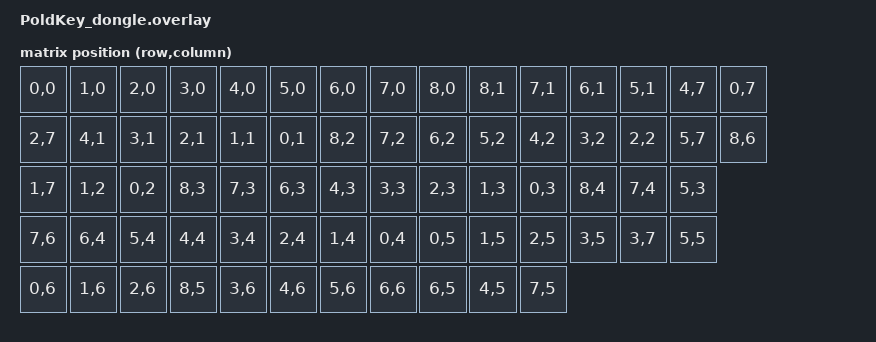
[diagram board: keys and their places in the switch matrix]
#include <dt-bindings/zmk/matrix_transform.h>
#include <dt-bindings/led/led.h>
#include <zephyr/dt-bindings/gpio/gpio.h>

&pinctrl {
    spi3_default: spi3_default {
        group1 {
            psels = <NRF_PSEL(SPIM_MOSI, 0, 31)>;
        };
    };

    spi3_sleep: spi3_sleep {
        group1 {
            psels = <NRF_PSEL(SPIM_MOSI, 0, 31)>;
            low-power-enable;
        };
    };

    /* I2C remap for OLED: SDA=P0.02 (D2), SCL=P0.20 (D3) */
    i2c0_dongle_default: i2c0_dongle_default {
        group1 {
            psels = <NRF_PSEL(TWIM_SDA, 0, 2)>, <NRF_PSEL(TWIM_SCL, 0, 20)>;
        };
    };

    i2c0_dongle_sleep: i2c0_dongle_sleep {
        group1 {
            psels = <NRF_PSEL(TWIM_SDA, 0, 2)>, <NRF_PSEL(TWIM_SCL, 0, 20)>;
            low-power-enable;
        };
    };
};

&spi3 {
    compatible = "nordic,nrf-spim";
    status = "okay";

    pinctrl-0 = <&spi3_default>;
    pinctrl-1 = <&spi3_sleep>;
    pinctrl-names = "default", "sleep";

    led_strip: ws2812@0 {
        compatible = "worldsemi,ws2812-spi";
        status = "okay"; /* no physical LEDs on dongle, used to init RGB + proxy */
        reg = <0>;
        spi-max-frequency = <4000000>;
        chain-length = <1>;
        spi-one-frame = <0x70>;
        spi-zero-frame = <0x40>;
        color-mapping = <LED_COLOR_ID_GREEN LED_COLOR_ID_RED LED_COLOR_ID_BLUE>;
    };
};

&pro_micro_i2c {
    status = "okay";
    pinctrl-0 = <&i2c0_dongle_default>;
    pinctrl-1 = <&i2c0_dongle_sleep>;
    pinctrl-names = "default", "sleep";
};

/ {
    chosen {
        zmk,kscan = &mock_kscan;
        zmk,physical-layout = &physical_layout0;
        zmk,underglow = &led_strip; /* enabled stub for RGB compile/proxy */
        /* events moved into mock_kscan so DT will generate DT_*_events_LEN */
    };

    mock_kscan: mock_kscan {
        compatible = "zmk,kscan-mock";
        events = <>; /* ensure the mock kscan node defines an 'events' property (can be empty) */
    };

    default_transform: matrix_transform_0 {
        compatible = "zmk,matrix-transform";
        columns = <8>;
        rows = <9>;
        map = <
            RC(0,0) RC(1,0) RC(2,0) RC(3,0) RC(4,0) RC(5,0) RC(6,0) RC(7,0) RC(8,0) RC(8,1) RC(7,1) RC(6,1) RC(5,1) RC(4,7) RC(0,7)
            RC(2,7) RC(4,1) RC(3,1) RC(2,1) RC(1,1) RC(0,1) RC(8,2) RC(7,2) RC(6,2) RC(5,2) RC(4,2) RC(3,2) RC(2,2) RC(5,7) RC(8,6)
            RC(1,7) RC(1,2) RC(0,2) RC(8,3) RC(7,3) RC(6,3) RC(4,3) RC(3,3) RC(2,3) RC(1,3) RC(0,3) RC(8,4) RC(7,4) RC(5,3)
            RC(7,6) RC(6,4) RC(5,4) RC(4,4) RC(3,4) RC(2,4) RC(1,4) RC(0,4) RC(0,5) RC(1,5) RC(2,5) RC(3,5) RC(3,7) RC(5,5)
            RC(0,6) RC(1,6) RC(2,6) RC(8,5) RC(3,6) RC(4,6) RC(5,6) RC(6,6) RC(6,5) RC(4,5) RC(7,5)
        >;
    };

    physical_layout0: physical_layout_0 {
        compatible = "zmk,physical-layout";
        display-name = "Default Layout";
        transform = <&default_transform>;
    };
};

/* Provide the node label the module expects on nice!nano */
xiao_i2c: &pro_micro_i2c {};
